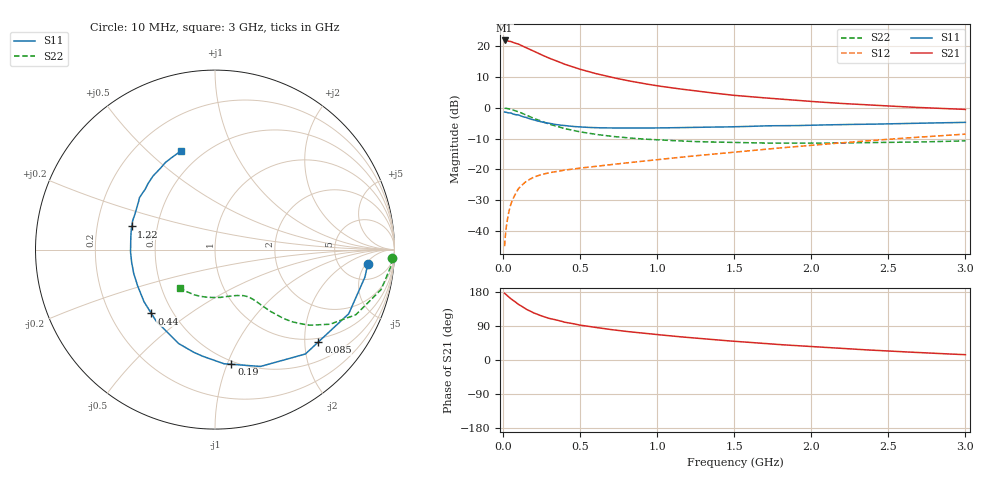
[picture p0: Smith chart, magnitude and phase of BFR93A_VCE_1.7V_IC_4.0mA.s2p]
! Infineon Technologies  Discrete & RF Semiconductors
! BFR93A
! VCE =  1.7 V,  IC =  4.0 mA
! Common Emitter S-Parameters:  Nov 2015
# GHz  S  MA  R  50
!  f  S11  S21  S12  S22
! GHz  MAG  ANG  MAG  ANG  MAG  ANG  MAG  ANG
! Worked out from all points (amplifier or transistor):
!   180 points, 10 MHz to 3 GHz, reference 50 ohm
!   highest |S21| = 22.0 dB at 10 MHz (marker M1)
!   |S21| within 3 dB of that: start of sweep to 177.7 MHz
!   unconditionally stable (mu >= 1): 788 MHz to end of sweep
!   at 160 MHz: K = 0.30, MSG = 21.5 dB, |S12| = -23.6 dB
!   at 1.22 GHz: K = 1.14, MAG = 8.4 dB, |S12| = -15.7 dB
!   at 3 GHz: K = 1.00, MAG = 3.7 dB, |S12| = -8.6 dB
!   S11 on the Smith chart (normalised r, x): 10 MHz: 10, -6; 85 MHz: 0.91, -2.32; 190 MHz: 0.47, -1.04; 440 MHz: 0.38, -0.36; 1.22 GHz: 0.36, +0.12; 3 GHz: 0.39, +0.64
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0.01  0.8553 -5.3  12.52 176.1  0.0056 87.4  0.9887 -2.8
0.025  0.8414 -12.9  12.36 170.8  0.0136 81.5  0.9769 -6.9
0.05  0.8264 -25.6  12.05 161.8  0.0268 76.2  0.9521 -13.5
0.085  0.7723 -41.7  11.18 151.5  0.0418 67.3  0.8872 -21.2
0.1  0.7694 -49.1  10.93 146.7  0.0484 65.2  0.8647 -24.8
0.15  0.6987 -68.7  9.571 133.9  0.0636 56.9  0.7637 -33.0
0.19  0.6454 -81.9  8.58 126.2  0.0724 52.4  0.6922 -37.4
0.2  0.6379 -85.5  8.36 124.0  0.0746 51.5  0.675 -38.6
0.24  0.5983 -96.5  7.496 117.8  0.0807 48.3  0.6162 -41.6
0.3  0.5613 -111.1  6.441 109.7  0.0878 45.5  0.5433 -45.1
0.4  0.5161 -129.4  5.132 99.7  0.097 43.5  0.4595 -48.2
0.44  0.5022 -134.9  4.771 97.0  0.1 43.3  0.4383 -48.9
0.52  0.4863 -145.9  4.125 90.9  0.1059 43.1  0.3994 -50.3
0.6  0.4761 -154.8  3.624 85.8  0.1117 43.7  0.3703 -51.4
0.7  0.4719 -163.7  3.157 80.3  0.1193 44.7  0.3449 -52.8
0.9  0.4708 -178.4  2.515 71.2  0.1348 46.8  0.3118 -56.3
1.02  0.4718 174.7  2.251 66.3  0.145 47.9  0.3001 -58.7
1.22  0.4818 164.5  1.929 58.7  0.1633 49.3  0.2845 -63.9
1.52  0.4937 152.1  1.584 48.7  0.1928 50.5  0.2716 -73.0
2.02  0.524 135.4  1.263 34.9  0.2481 50.0  0.2669 -91.0
2.52  0.5516 121.7  1.069 23.3  0.3106 46.6  0.2742 -110.8
3  0.5807 109.2  0.944 14.0  0.3736 41.7  0.2912 -132.3
